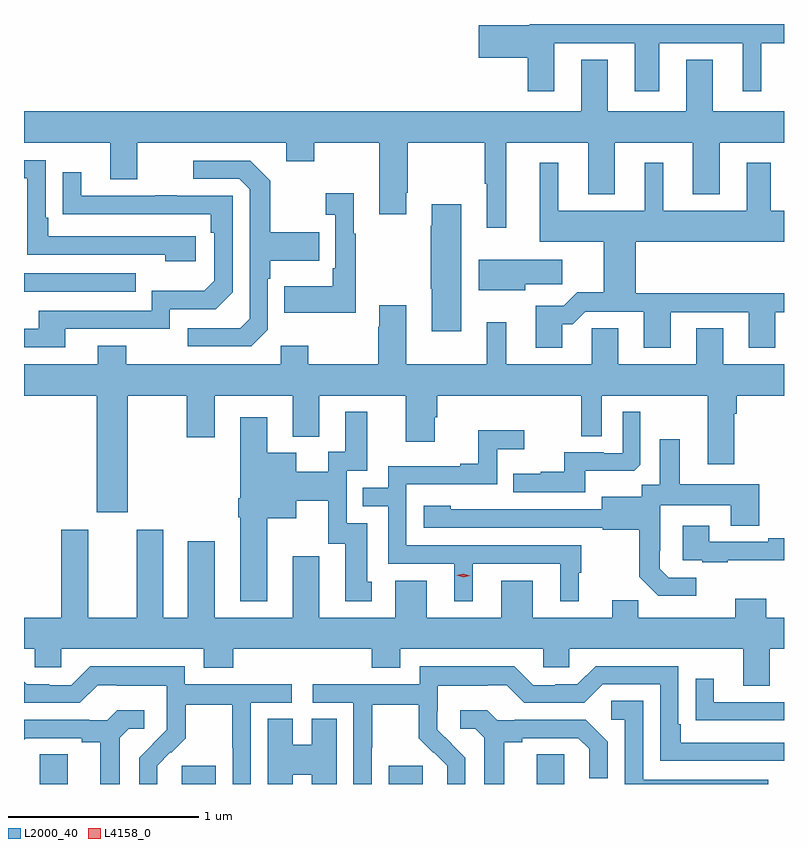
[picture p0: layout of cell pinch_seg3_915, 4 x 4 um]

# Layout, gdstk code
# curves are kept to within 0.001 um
import gdstk
lib = gdstk.Library(unit=1e-6, precision=1e-09)
def R(c, l, rs):  # rectangles x0, y0, x1, y1
    for r in rs: c.add(gdstk.rectangle(r[:2], r[2:], *l))
def P(c, l, *ps):  # polygons
    for p in ps: c.add(gdstk.Polygon(p, *l))
L2000_40 = (2000, 40)
L4158_0 = (4158, 0)

pinch_seg3_915 = lib.new_cell('pinch_seg3_915')
R(pinch_seg3_915, L2000_40, [(860.568,676.228,860.713,676.385), (861.314,676.228,861.493,676.323), (862.403,676.228,862.582,676.323), (863.183,676.228,863.328,676.385), (860.484,678.819,861.071,678.915)])
P(pinch_seg3_915, L2000_40, [(863.275,680.126),(863.699,680.126),(863.699,679.875),(863.827,679.875),(863.827,680.126),(864.266,680.126),(864.266,679.875),(864.364,679.875),(864.364,680.126),(864.484,680.126),(864.484,680.228),(863.147,680.228),(863.147,680.222),(862.878,680.222),(862.878,680.051),(863.135,680.051),(863.135,679.875),(863.275,679.875)],
  [(863.023,679.604),(863.453,679.604),(863.453,679.331),(863.593,679.331),(863.593,679.604),(864.005,679.604),(864.005,679.331),(864.145,679.331),(864.145,679.604),(864.484,679.604),(864.484,679.768),(864.109,679.768),(864.109,680.041),(863.969,680.041),(863.969,679.768),(863.557,679.768),(863.557,680.041),(863.417,680.041),(863.417,679.768),(860.484,679.768),(860.484,679.604),(860.939,679.604),(860.939,679.41),(861.079,679.41),(861.079,679.604),(861.863,679.604),(861.863,679.505),(862.011,679.505),(862.011,679.604),(862.355,679.604),(862.355,679.227),(862.495,679.227),(862.495,679.339),(862.503,679.339),(862.503,679.604),(862.909,679.604),(862.909,679.388),(862.919,679.388),(862.919,679.155),(863.023,679.155)],
  [(861.388,679.11),(860.611,679.11),(860.611,679.207),(860.598,679.207),(860.598,679.512),(860.484,679.512),(860.484,679.416),(860.502,679.416),(860.502,679.014),(861.227,679.014),(861.227,678.98),(861.388,678.98)],
  [(861.768,678.618),(861.768,678.887),(861.781,678.887),(861.781,678.983),(862.037,678.983),(862.037,679.131),(861.781,679.131),(861.781,679.403),(861.675,679.509),(861.375,679.509),(861.375,679.413),(861.618,679.413),(861.672,679.359),(861.672,678.678),(861.621,678.627),(861.345,678.627),(861.345,678.531),(861.681,678.531)],
  [(863.317,678.647),(863.372,678.647),(863.439,678.714),(863.747,678.714),(863.747,678.525),(863.887,678.525),(863.887,678.711),(864.299,678.711),(864.299,678.525),(864.439,678.525),(864.439,678.711),(864.484,678.711),(864.484,678.812),(863.705,678.812),(863.705,679.082),(864.484,679.082),(864.484,679.246),(864.415,679.246),(864.415,679.498),(864.287,679.498),(864.287,679.246),(863.848,679.246),(863.848,679.498),(863.75,679.498),(863.75,679.246),(863.296,679.246),(863.296,679.498),(863.198,679.498),(863.198,679.082),(863.534,679.082),(863.534,678.815),(863.396,678.815),(863.326,678.745),(863.177,678.745),(863.177,678.525),(863.317,678.525)],
  [(860.701,678.624),(861.252,678.624),(861.252,678.726),(861.492,678.726),(861.582,678.816),(861.582,679.323),(861.287,679.323),(861.287,679.328),(861.175,679.328),(861.175,679.323),(860.785,679.323),(860.785,679.447),(860.689,679.447),(860.689,679.228),(861.466,679.227),(861.466,679.13),(861.486,679.13),(861.486,678.876),(861.433,678.823),(861.156,678.823),(861.156,678.72),(860.561,678.72),(860.561,678.624),(860.484,678.624),(860.484,678.528),(860.701,678.528)],
  [(862.231,679.123),(862.219,679.123),(862.219,679.336),(862.071,679.336),(862.071,679.223),(862.122,679.223),(862.122,678.943),(862.11,678.943),(862.11,678.847),(861.853,678.847),(861.853,678.707),(862.231,678.707)],
  [(862.786,679.279),(862.631,679.279),(862.631,679.166),(862.624,679.166),(862.624,678.835),(862.631,678.835),(862.631,678.612),(862.786,678.612)],
  [(863.122,678.859),(863.317,678.859),(863.317,678.988),(862.878,678.988),(862.878,678.827),(863.122,678.827)],
  [(861.031,678.272),(861.34,678.272),(861.34,678.054),(861.487,678.054),(861.487,678.272),(861.899,678.272),(861.899,678.056),(862.039,678.056),(862.039,678.272),(862.493,678.272),(862.493,678.03),(862.645,678.03),(862.645,678.159),(862.658,678.159),(862.658,678.272),(863.418,678.272),(863.418,678.058),(863.526,678.058),(863.526,678.272),(864.083,678.272),(864.083,677.91),(864.223,677.91),(864.223,678.176),(864.236,678.176),(864.236,678.272),(864.484,678.272),(864.484,678.436),(864.163,678.436),(864.163,678.626),(864.023,678.626),(864.023,678.436),(863.611,678.436),(863.611,678.626),(863.472,678.626),(863.472,678.436),(863.023,678.436),(863.023,678.658),(862.919,678.658),(862.919,678.436),(862.495,678.436),(862.495,678.748),(862.355,678.748),(862.355,678.635),(862.348,678.635),(862.348,678.436),(861.981,678.436),(861.981,678.535),(861.834,678.535),(861.834,678.436),(861.021,678.436),(861.021,678.535),(860.873,678.535),(860.873,678.436),(860.484,678.436),(860.484,678.272),(860.867,678.272),(860.867,677.658),(861.031,677.658)],
  [(863.437,677.876),(863.695,677.876),(863.727,677.907),(863.727,678.187),(863.634,678.187),(863.634,677.97),(863.534,677.97),(863.534,677.973),(863.327,677.973),(863.327,677.872),(863.203,677.872),(863.203,677.86),(863.059,677.86),(863.059,677.763),(863.437,677.763)],
  [(861.763,677.627),(861.916,677.627),(861.916,677.72),(862.086,677.72),(862.086,677.493),(862.175,677.493),(862.175,677.19),(862.315,677.19),(862.315,677.292),(862.291,677.292),(862.291,677.601),(862.182,677.601),(862.182,677.877),(862.291,677.877),(862.291,678.187),(862.175,678.187),(862.175,677.978),(862.085,677.978),(862.085,677.872),(861.916,677.872),(861.916,677.971),(861.763,677.971),(861.763,678.157),(861.623,678.157),(861.623,677.731),(861.611,677.731),(861.611,677.631),(861.623,677.631),(861.623,677.189),(861.763,677.189)],
  [(862.846,677.388),(863.306,677.388),(863.306,677.189),(863.404,677.189),(863.404,677.34),(863.416,677.34),(863.416,677.484),(862.497,677.484),(862.497,677.805),(862.974,677.805),(862.974,677.99),(863.116,677.99),(863.116,678.089),(862.876,678.089),(862.876,677.914),(862.781,677.914),(862.781,677.901),(862.401,677.901),(862.401,677.787),(862.267,677.787),(862.267,677.691),(862.401,677.691),(862.401,677.388),(862.748,677.388),(862.748,677.189),(862.846,677.189)],
  [(864.022,677.313),(863.877,677.313),(863.83,677.36),(863.83,677.455),(863.832,677.455),(863.832,677.696),(864.203,677.696),(864.203,677.587),(864.355,677.587),(864.355,677.806),(863.935,677.806),(863.935,678.043),(863.831,678.043),(863.831,677.804),(863.736,677.804),(863.736,677.74),(863.525,677.74),(863.525,677.673),(862.731,677.674),(862.731,677.692),(862.587,677.692),(862.587,677.577),(863.529,677.577),(863.529,677.565),(863.721,677.565),(863.721,677.319),(863.821,677.219),(864.022,677.219)],
  [(864.187,677.405),(864.484,677.405),(864.484,677.521),(864.401,677.521),(864.401,677.502),(864.091,677.502),(864.091,677.587),(863.951,677.587),(863.951,677.406),(864.055,677.406),(864.055,677.394),(864.187,677.394)],
  [(861.431,676.841),(861.584,676.841),(861.584,676.94),(862.313,676.94),(862.313,676.841),(862.465,676.841),(862.465,676.94),(863.217,676.94),(863.217,676.842),(863.355,676.842),(863.355,676.94),(864.269,676.94),(864.269,676.746),(864.409,676.746),(864.409,676.94),(864.484,676.94),(864.484,677.104),(864.391,677.104),(864.391,677.203),(864.227,677.203),(864.227,677.104),(863.717,677.104),(863.717,677.195),(863.579,677.195),(863.579,677.104),(863.161,677.104),(863.161,677.299),(862.997,677.299),(862.997,677.104),(862.603,677.104),(862.603,677.299),(862.439,677.299),(862.439,677.104),(862.039,677.104),(862.039,677.428),(861.899,677.428),(861.899,677.104),(861.487,677.104),(861.487,677.506),(861.347,677.506),(861.347,677.104),(861.217,677.104),(861.217,677.566),(861.077,677.566),(861.077,677.104),(860.821,677.104),(860.821,677.566),(860.681,677.566),(860.681,677.104),(860.484,677.104),(860.484,676.94),(860.541,676.94),(860.541,676.842),(860.679,676.842),(860.679,676.94),(861.431,676.94)],
  [(861.185,676.325),(861.255,676.395),(861.258,676.392),(861.335,676.469),(861.335,676.644),(861.58,676.644),(861.58,676.42),(861.582,676.42),(861.582,676.228),(861.678,676.228),(861.678,676.656),(861.892,676.656),(861.892,676.752),(861.33,676.752),(861.33,676.849),(860.833,676.849),(860.733,676.749),(860.618,676.749),(860.618,676.752),(860.499,676.752),(860.484,676.767),(860.484,676.656),(860.778,676.656),(860.871,676.749),(860.971,676.749),(860.971,676.745),(861.234,676.745),(861.234,676.611),(861.236,676.611),(861.236,676.514),(861.09,676.366),(861.09,676.228),(861.185,676.228)],
  [(862.314,676.42),(862.317,676.42),(862.317,676.644),(862.561,676.644),(862.561,676.469),(862.638,676.392),(862.641,676.395),(862.712,676.325),(862.712,676.228),(862.806,676.228),(862.806,676.366),(862.66,676.514),(862.66,676.611),(862.662,676.611),(862.662,676.745),(862.925,676.745),(862.925,676.749),(863.025,676.749),(863.118,676.656),(863.433,676.656),(863.529,676.752),(863.832,676.752),(863.832,676.35),(864.484,676.35),(864.484,676.446),(863.941,676.446),(863.941,676.543),(863.928,676.543),(863.928,676.848),(863.493,676.848),(863.397,676.752),(863.279,676.752),(863.279,676.749),(863.163,676.749),(863.063,676.849),(862.566,676.849),(862.566,676.752),(862.005,676.752),(862.005,676.656),(862.218,676.656),(862.218,676.228),(862.314,676.228)],
  [(864.484,676.659),(864.115,676.659),(864.115,676.783),(864.019,676.783),(864.019,676.564),(864.121,676.564),(864.121,676.563),(864.484,676.563)],
  [(864.401,676.251),(863.742,676.251),(863.742,676.667),(863.574,676.667),(863.574,676.566),(863.646,676.566),(863.646,676.228),(864.401,676.228)],
  [(863.011,676.448),(863.107,676.448),(863.107,676.47),(863.402,676.47),(863.459,676.413),(863.459,676.257),(863.556,676.257),(863.556,676.45),(863.44,676.566),(863.068,676.566),(863.068,676.563),(862.974,676.563),(862.922,676.615),(862.779,676.615),(862.779,676.518),(862.86,676.518),(862.907,676.471),(862.907,676.228),(863.011,676.228)],
  [(860.989,676.471),(861.036,676.518),(861.118,676.518),(861.118,676.615),(860.974,676.615),(860.922,676.563),(860.828,676.563),(860.828,676.566),(860.484,676.566),(860.484,676.46),(860.494,676.47),(860.789,676.47),(860.789,676.448),(860.885,676.448),(860.885,676.228),(860.989,676.228)],
  [(861.898,676.277),(861.998,676.277),(861.998,676.228),(862.129,676.228),(862.129,676.571),(861.998,676.571),(861.998,676.435),(861.898,676.435),(861.898,676.571),(861.767,676.571),(861.767,676.228),(861.898,676.228)])
P(pinch_seg3_915, L4158_0, [(862.797,677.315),(862.761,677.326),(862.761,677.326),(862.761,677.326),(862.797,677.335),(862.833,677.324),(862.833,677.324),(862.833,677.324)])

lib.write_gds('pinch_seg3_915.gds')
